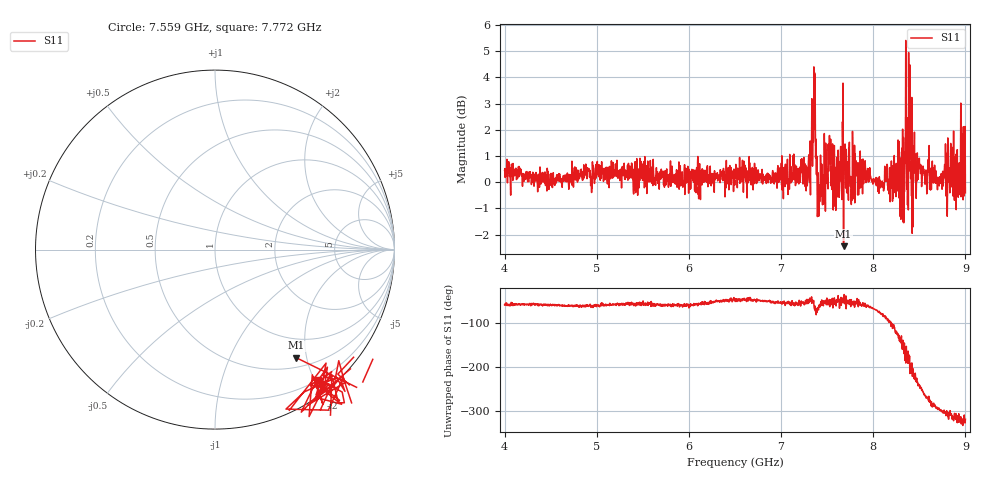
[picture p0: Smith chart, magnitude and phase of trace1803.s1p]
! Created with skrf 1.8.0 (http://scikit-rf.org).
# Hz S RI R 50.0
!freq ReS11 ImS11
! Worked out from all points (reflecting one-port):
!   1601 points, 4 GHz to 9 GHz, reference 50 ohm
!   lowest |S11| = -2.4 dB at 7.678 GHz (marker M1), VSWR 7.15, Z = 32.5 - j91.1 ohm
!   phase of S11 starts at -58 deg and turns -260 deg over the sweep
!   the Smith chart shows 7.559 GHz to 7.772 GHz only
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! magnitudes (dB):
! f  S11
! 4 GHz  0.4
! 4.625 GHz  -0.2
! 5.25 GHz  0.1
! 5.875 GHz  0.0
! 6.5 GHz  0.4
! 7.125 GHz  0.3
! 7.294 GHz  0.3
! 7.347 GHz  2.6
! 7.359 GHz  2.1
! 7.397 GHz  -1.1
! 7.412 GHz  -0.7
! 7.509 GHz  -0.3
! 7.578 GHz  1.4
! 7.678 GHz  -2.4
! 7.75 GHz  0.0
! 8.094 GHz  -0.1
! 8.253 GHz  0.1
! 8.312 GHz  1.3
! 8.334 GHz  1.2
! 8.356 GHz  3.1
! 8.375 GHz  0.8
! 8.447 GHz  1.9
! 8.459 GHz  0.0
! 8.722 GHz  0.0
! 8.834 GHz  0.3
! 8.903 GHz  1.0
! 8.972 GHz  0.2
! 9 GHz  -0.4
